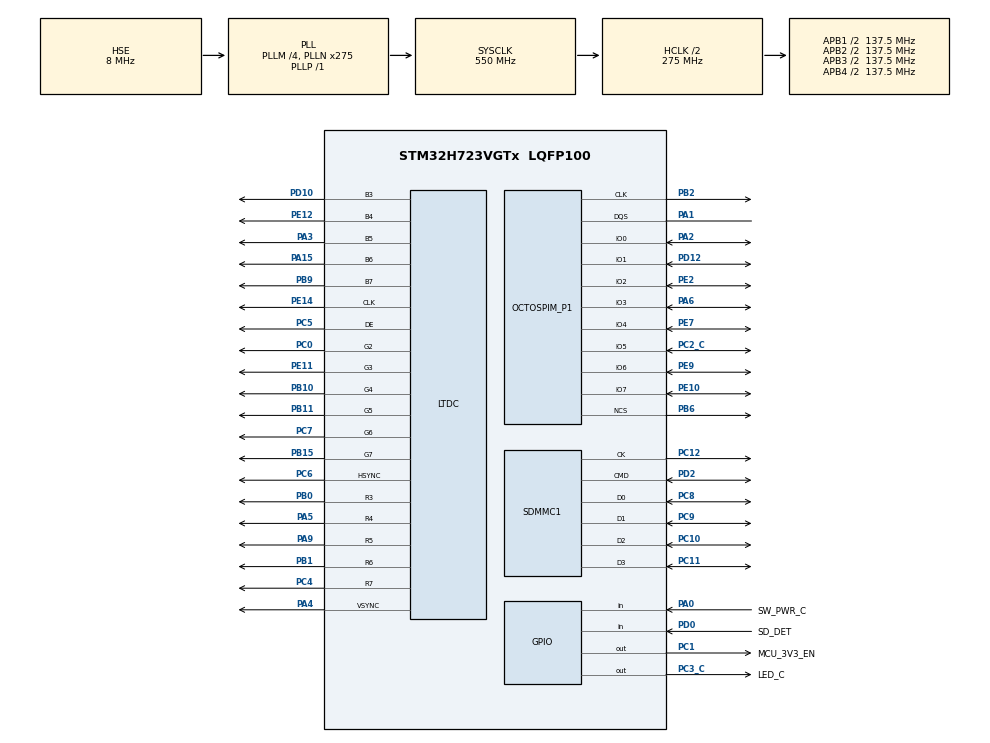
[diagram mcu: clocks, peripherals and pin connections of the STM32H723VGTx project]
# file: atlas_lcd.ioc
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Bdma.MEMTOMEM.0.Direction=DMA_MEMORY_TO_MEMORY
Bdma.MEMTOMEM.0.EventEnable=DISABLE
Bdma.MEMTOMEM.0.Instance=BDMA_Channel0
Bdma.MEMTOMEM.0.MemDataAlignment=DMA_MDATAALIGN_BYTE
Bdma.MEMTOMEM.0.MemInc=DMA_MINC_ENABLE
Bdma.MEMTOMEM.0.Mode=DMA_NORMAL
Bdma.MEMTOMEM.0.PeriphDataAlignment=DMA_PDATAALIGN_BYTE
Bdma.MEMTOMEM.0.PeriphInc=DMA_PINC_ENABLE
Bdma.MEMTOMEM.0.Polarity=HAL_DMAMUX_REQ_GEN_RISING
Bdma.MEMTOMEM.0.Priority=DMA_PRIORITY_LOW
Bdma.MEMTOMEM.0.RequestNumber=1
Bdma.MEMTOMEM.0.SignalID=NONE
Bdma.MEMTOMEM.0.SyncEnable=DISABLE
Bdma.MEMTOMEM.0.SyncPolarity=HAL_DMAMUX_SYNC_NO_EVENT
Bdma.MEMTOMEM.0.SyncRequestNumber=1
Bdma.MEMTOMEM.0.SyncSignalID=NONE
Bdma.Request0=MEMTOMEM
Bdma.RequestsNb=1
CORTEX_M7.MPU_Control=__NULL
DMA2D.ColorMode=DMA2D_OUTPUT_ARGB8888
DMA2D.InputColorModeForeground=DMA2D_INPUT_L8
DMA2D.Mode=DMA2D_M2M_PFC
FATFS.BSP.number=1
FATFS.USE_DMA_CODE_SD=1
FATFS0.BSP.STBoard=false
FATFS0.BSP.api=Unknown
FATFS0.BSP.i2caddr=0
FATFS0.BSP.instance=PD0
FATFS0.BSP.ip=GPIO
FATFS0.BSP.mode=Input
FATFS0.BSP.name=Detect_SDIO
FATFS0.BSP.solution=PD0
Mcu.Family=STM32H7
Mcu.Name=STM32H723VGTx
Mcu.Package=LQFP100
Mdma.MDMA_Channel0.Request0=SW
Mdma.MDMA_Channel0.RequestsNb=1
Mdma.MDMA_Channel0.SW.0.BlockCount=0
Mdma.MDMA_Channel0.SW.0.BlockDataLength=0
Mdma.MDMA_Channel0.SW.0.BufferTransferLength=1
Mdma.MDMA_Channel0.SW.0.CircularMode=MDMA_LINEAR_LIST
Mdma.MDMA_Channel0.SW.0.DataAlignment=MDMA_DATAALIGN_PACKENABLE
Mdma.MDMA_Channel0.SW.0.DestBlockAddressOffset=0
Mdma.MDMA_Channel0.SW.0.DestBurst=MDMA_DEST_BURST_SINGLE
Mdma.MDMA_Channel0.SW.0.DestDataSize=MDMA_DEST_DATASIZE_BYTE
Mdma.MDMA_Channel0.SW.0.DestinationInc=MDMA_DEST_INC_BYTE
Mdma.MDMA_Channel0.SW.0.DstAddress=0
Mdma.MDMA_Channel0.SW.0.Endianness=MDMA_LITTLE_ENDIANNESS_PRESERVE
Mdma.MDMA_Channel0.SW.0.Instance=MDMA_Channel0
Mdma.MDMA_Channel0.SW.0.MaskAddress=0
Mdma.MDMA_Channel0.SW.0.MaskData=0
Mdma.MDMA_Channel0.SW.0.Priority=MDMA_PRIORITY_LOW
Mdma.MDMA_Channel0.SW.0.Rank=First
Mdma.MDMA_Channel0.SW.0.SourceBlockAddressOffset=0
Mdma.MDMA_Channel0.SW.0.SourceBurst=MDMA_SOURCE_BURST_SINGLE
Mdma.MDMA_Channel0.SW.0.SourceDataSize=MDMA_SRC_DATASIZE_BYTE
Mdma.MDMA_Channel0.SW.0.SourceInc=MDMA_SRC_INC_BYTE
Mdma.MDMA_Channel0.SW.0.SrcAddress=0
Mdma.MDMA_Channel0.SW.0.TransferTriggerMode=MDMA_BLOCK_TRANSFER
Mdma.RequestSet0=MDMA_Channel0
Mdma.RequestSetsNb=1
NVIC.PriorityGroup=NVIC_PRIORITYGROUP_4
OCTOSPI1.AccessTime=6
OCTOSPI1.ChipSelectBoundary=0
OCTOSPI1.ClkChipSelectHighTime=1
OCTOSPI1.ClockPrescaler=2
OCTOSPI1.DelayHoldQuarterCycle=HAL_OSPI_DHQC_ENABLE
OCTOSPI1.DeviceSize=23
OCTOSPI1.LatencyMode=HAL_OSPI_FIXED_LATENCY
OCTOSPI1.RWRecoveryTime=3
OCTOSPI1.Refresh=241
PA0.GPIO_Label=SW_PWR_C
PA0.Signal=GPIO_Input
PA1.Mode=OCTOSPI1_Port1_DQS
PA1.Signal=OCTOSPIM_P1_DQS
PA13(JTMS/SWDIO).Mode=Trace_Asynchronous_SW
PA13(JTMS/SWDIO).Signal=DEBUG_JTMS-SWDIO
PA14(JTCK/SWCLK).Mode=Trace_Asynchronous_SW
PA14(JTCK/SWCLK).Signal=DEBUG_JTCK-SWCLK
PA15(JTDI).Mode=RGB565
PA15(JTDI).Signal=LTDC_B6
PA2.Mode=OCTOSPI1_IOL_Port1L
PA2.Signal=OCTOSPIM_P1_IO0
PA3.Mode=RGB565
PA3.Signal=LTDC_B5
PA4.Mode=RGB565
PA4.Signal=LTDC_VSYNC
PA5.Mode=RGB565
PA5.Signal=LTDC_R4
PA6.Mode=OCTOSPI1_IOL_Port1L
PA6.Signal=OCTOSPIM_P1_IO3
PA9.Mode=RGB565
PA9.Signal=LTDC_R5
PB0.Mode=RGB565
PB0.Signal=LTDC_R3
PB1.Mode=RGB565
PB1.Signal=LTDC_R6
PB10.Mode=RGB565
PB10.Signal=LTDC_G4
PB11.Mode=RGB565
PB11.Signal=LTDC_G5
PB15.Mode=RGB565
PB15.Signal=LTDC_G7
PB2.Mode=O1_P1_CLK
PB2.Signal=OCTOSPIM_P1_CLK
PB3(JTDO/TRACESWO).Mode=Trace_Asynchronous_SW
PB3(JTDO/TRACESWO).Signal=DEBUG_JTDO-SWO
PB6.Mode=OCTOSPI1_Port1_NCS
PB6.Signal=OCTOSPIM_P1_NCS
PB9.Mode=RGB565
PB9.Signal=LTDC_B7
PC0.Mode=RGB565
PC0.Signal=LTDC_G2
PC1.GPIO_Label=MCU_3V3_EN
PC1.PinState=GPIO_PIN_SET
PC1.Signal=GPIO_Output
PC10.Mode=SD_4_bits_Wide_bus
PC10.Signal=SDMMC1_D2
PC11.Mode=SD_4_bits_Wide_bus
PC11.Signal=SDMMC1_D3
PC12.Mode=SD_4_bits_Wide_bus
PC12.Signal=SDMMC1_CK
PC2_C.Mode=OCTOSPI1_IOH_Port1H
PC2_C.Signal=OCTOSPIM_P1_IO5
PC3_C.GPIO_Label=LED_C
PC3_C.PinState=GPIO_PIN_SET
PC3_C.Signal=GPIO_Output
PC4.Mode=RGB565
PC4.Signal=LTDC_R7
PC5.Mode=RGB565
PC5.Signal=LTDC_DE
PC6.Mode=RGB565
PC6.Signal=LTDC_HSYNC
PC7.Mode=RGB565
PC7.Signal=LTDC_G6
PC8.Mode=SD_4_bits_Wide_bus
PC8.Signal=SDMMC1_D0
PC9.Mode=SD_4_bits_Wide_bus
PC9.Signal=SDMMC1_D1
PD0.GPIO_Label=SD_DET
PD0.Signal=GPIO_Input
PD10.Mode=RGB565
PD10.Signal=LTDC_B3
PD12.Mode=OCTOSPI1_IOL_Port1L
PD12.Signal=OCTOSPIM_P1_IO1
PD2.Mode=SD_4_bits_Wide_bus
PD2.Signal=SDMMC1_CMD
PE10.Mode=OCTOSPI1_IOH_Port1H
PE10.Signal=OCTOSPIM_P1_IO7
PE11.Mode=RGB565
PE11.Signal=LTDC_G3
PE12.Mode=RGB565
PE12.Signal=LTDC_B4
PE14.Mode=RGB565
PE14.Signal=LTDC_CLK
PE2.Mode=OCTOSPI1_IOL_Port1L
PE2.Signal=OCTOSPIM_P1_IO2
PE7.Mode=OCTOSPI1_IOH_Port1H
PE7.Signal=OCTOSPIM_P1_IO4
PE9.Mode=OCTOSPI1_IOH_Port1H
PE9.Signal=OCTOSPIM_P1_IO6
PH0-OSC_IN.Mode=HSE-External-Oscillator
PH0-OSC_IN.Signal=RCC_OSC_IN
PH1-OSC_OUT.Mode=HSE-External-Oscillator
PH1-OSC_OUT.Signal=RCC_OSC_OUT
ProjectManager.HeapSize=0x200
ProjectManager.StackSize=0x400
ProjectManager.TargetToolchain=Makefile
RCC.ADCFreq_Value=100000000
RCC.APB1Freq_Value=137500000
RCC.APB2Freq_Value=137500000
RCC.APB3Freq_Value=137500000
RCC.APB4Freq_Value=137500000
RCC.CortexFreq_Value=550000000
RCC.D1PPRE=RCC_APB3_DIV2
RCC.D2PPRE1=RCC_APB1_DIV2
RCC.D2PPRE2=RCC_APB2_DIV2
RCC.D3PPRE=RCC_APB4_DIV2
RCC.DIVM1=4
RCC.DIVM2=2
RCC.DIVN1=275
RCC.DIVN2=50
RCC.DIVN3=148
RCC.DIVP1=1
RCC.DIVR2=100
RCC.DIVR3=4
RCC.HCLKFreq_Value=275000000
RCC.HPRE=RCC_HCLK_DIV2
RCC.HSE_VALUE=8000000
RCC.HSIDiv=RCC_PLLSAIDIVR_8
RCC.LSE_VALUE=32.77
RCC.PLL2FRACN=0
RCC.PLL2_VCO_SEL-AdvancedSettings=RCC_PLL2VCOWIDE
RCC.PLL3FRACN=0
RCC.PLLFRACN=0
RCC.PLLSourceVirtual=RCC_PLLSOURCE_HSE
RCC.QSPICLockSelection=RCC_OSPICLKSOURCE_PLL
RCC.SDMMC1CLockSelection=RCC_SDMMCCLKSOURCE_PLL2
RCC.SPI123CLockSelection=RCC_SPI123CLKSOURCE_PLL2
RCC.SYSCLKFreq_VALUE=550000000
RCC.SYSCLKSource=RCC_SYSCLKSOURCE_PLLCLK
RCC.USBFreq_Value=275000000
SDMMC1.ClockDiv=4
TIM2.AutoReloadPreload=TIM_AUTORELOAD_PRELOAD_ENABLE
TIM2.Period=999
TIM2.Prescaler=9
VP_DMA2D_VS_DMA2D.Mode=DMA2D_Activate
VP_FATFS_VS_SDIO.Mode=SDIO
VP_OCTOSPI1_VS_hyperbus.Mode=hyperbus_mode
VP_TIM2_VS_ClockSourceINT.Mode=Internal
board=custom

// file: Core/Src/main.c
/* USER CODE BEGIN Header */
/**
  ******************************************************************************
  * @file           : main.c
  * @brief          : Main program body
  ******************************************************************************
  * @attention
  *
  * <h2><center>&copy; Copyright (c) 2021 STMicroelectronics.
  * All rights reserved.</center></h2>
  *
  * This software component is licensed by ST under BSD 3-Clause license,
  * the "License"; You may not use this file except in compliance with the
  * License. You may obtain a copy of the License at:
  *                        opensource.org/licenses/BSD-3-Clause
  *
  ******************************************************************************
  */
/* USER CODE END Header */
#include "main.h"
#include "bdma.h"
#include "dma2d.h"
#include "fatfs.h"
#include "ltdc.h"
#include "mdma.h"
#include "octospi.h"
#include "sdmmc.h"
#include "tim.h"
#include "gpio.h"

void SystemClock_Config(void);
/* USER CODE BEGIN PFP */
void SWD_Init(void);
void SWO_PrintData(uint32_t * addr, uint32_t count);
/* USER CODE END PFP */

/* USER CODE BEGIN 0 */
__attribute__((section(".fb1"))) uint8_t fb[272*480];
/* USER CODE END 0 */

int main(void)
{
  /* USER CODE BEGIN 1 */
  /* Enable I-Cache */
  //SCB_EnableICache();

  /* Enable D-Cache */
  //SCB_EnableDCache();
  /* USER CODE END 1 */

  /* MCU Configuration--------------------------------------------------------*/

  /* Reset of all peripherals, Initializes the Flash interface and the Systick. */
  HAL_Init();

  /* Configure the system clock */
  SystemClock_Config();

  /* Initialize all configured peripherals */
  MX_GPIO_Init();
  MX_BDMA_Init();
  MX_MDMA_Init();
  MX_SDMMC1_SD_Init();
  MX_TIM2_Init();
  MX_FATFS_Init();
  MX_LTDC_Init();
  MX_OCTOSPI1_Init();
  MX_DMA2D_Init();
  /* USER CODE BEGIN 2 */
  HAL_TIM_PWM_Start(&htim2, TIM_CHANNEL_4);
  /* USER CODE END 2 */

  /* Infinite loop */
  while (1)
  {

  }
}

void SystemClock_Config(void)
{
  RCC_OscInitTypeDef RCC_OscInitStruct = {0};
  RCC_ClkInitTypeDef RCC_ClkInitStruct = {0};

  /** Supply configuration update enable
  */
  HAL_PWREx_ConfigSupply(PWR_LDO_SUPPLY);
  /** Configure the main internal regulator output voltage
  */
  __HAL_PWR_VOLTAGESCALING_CONFIG(PWR_REGULATOR_VOLTAGE_SCALE0);

  while(!__HAL_PWR_GET_FLAG(PWR_FLAG_VOSRDY)) {}
  /** Macro to configure the PLL clock source
  */
  __HAL_RCC_PLL_PLLSOURCE_CONFIG(RCC_PLLSOURCE_HSE);
  /** Initializes the RCC Oscillators according to the specified parameters
  * in the RCC_OscInitTypeDef structure.
  */
  RCC_OscInitStruct.OscillatorType = RCC_OSCILLATORTYPE_HSE;
  RCC_OscInitStruct.HSEState = RCC_HSE_ON;
  RCC_OscInitStruct.PLL.PLLState = RCC_PLL_ON;
  RCC_OscInitStruct.PLL.PLLSource = RCC_PLLSOURCE_HSE;
  RCC_OscInitStruct.PLL.PLLM = 4;
  RCC_OscInitStruct.PLL.PLLN = 275;
  RCC_OscInitStruct.PLL.PLLP = 1;
  RCC_OscInitStruct.PLL.PLLQ = 2;
  RCC_OscInitStruct.PLL.PLLR = 2;
  RCC_OscInitStruct.PLL.PLLRGE = RCC_PLL1VCIRANGE_1;
  RCC_OscInitStruct.PLL.PLLVCOSEL = RCC_PLL1VCOWIDE;
  RCC_OscInitStruct.PLL.PLLFRACN = 0;
  if (HAL_RCC_OscConfig(&RCC_OscInitStruct) != HAL_OK)
  {
    Error_Handler();
  }
  /** Initializes the CPU, AHB and APB buses clocks
  */
  RCC_ClkInitStruct.ClockType = RCC_CLOCKTYPE_HCLK|RCC_CLOCKTYPE_SYSCLK
                              |RCC_CLOCKTYPE_PCLK1|RCC_CLOCKTYPE_PCLK2
                              |RCC_CLOCKTYPE_D3PCLK1|RCC_CLOCKTYPE_D1PCLK1;
  RCC_ClkInitStruct.SYSCLKSource = RCC_SYSCLKSOURCE_PLLCLK;
  RCC_ClkInitStruct.SYSCLKDivider = RCC_SYSCLK_DIV1;
  RCC_ClkInitStruct.AHBCLKDivider = RCC_HCLK_DIV2;
  RCC_ClkInitStruct.APB3CLKDivider = RCC_APB3_DIV2;
  RCC_ClkInitStruct.APB1CLKDivider = RCC_APB1_DIV2;
  RCC_ClkInitStruct.APB2CLKDivider = RCC_APB2_DIV2;
  RCC_ClkInitStruct.APB4CLKDivider = RCC_APB4_DIV2;

  if (HAL_RCC_ClockConfig(&RCC_ClkInitStruct, FLASH_LATENCY_3) != HAL_OK)
  {
    Error_Handler();
  }
}

/* USER CODE BEGIN 4 */
void SWD_Init(void)
{
  /*
    This functions recommends system speed of 400000000Hz and will
    use SWO clock speed of 2000000Hz

    # GDB OpenOCD commands to connect to this:
    monitor tpiu config internal - uart off 400000000
    monitor itm port 0 on

    Code Gen Ref: https://gist.github.com/mofosyne/178ad947fdff0f357eb0e03a42bcef5c
  */

  /* Setup SWO and SWO funnel (Note: SWO_BASE and SWTF_BASE not defined in stm32h743xx.h) */
  // DBGMCU_CR : Enable D3DBGCKEN D1DBGCKEN TRACECLKEN Clock Domains
  DBGMCU->CR =  DBGMCU_CR_DBG_CKD3EN | DBGMCU_CR_DBG_CKD1EN | DBGMCU_CR_DBG_TRACECKEN; // DBGMCU_CR
  // SWO_LAR & SWTF_LAR : Unlock SWO and SWO Funnel
  *((uint32_t *)(0x5c003fb0)) = 0xC5ACCE55; // SWO_LAR
  *((uint32_t *)(0x5c004fb0)) = 0xC5ACCE55; // SWTF_LAR
  // SWO_CODR  : 400000000Hz -> 2000000Hz
  // Note: SWOPrescaler = ((sysclock_Hz / SWOSpeed_Hz) - 1) --> 0x0000c7 = 199 = (400000000 / 2000000) - 1)
  *((uint32_t *)(0x5c003010)) = ((SystemCoreClock /  2000000) - 1); // SWO_CODR
  // SWO_SPPR : (2:  SWO NRZ, 1:  SWO Manchester encoding)
  *((uint32_t *)(0x5c0030f0)) = 0x00000001; // SWO_SPPR
  // SWTF_CTRL : enable SWO
  *((uint32_t *)(0x5c004000)) |= 0x1; // SWTF_CTRL

  /* SWO GPIO Pin Setup */
  //RCC_AHB4ENR enable GPIOB clock
  *(__IO uint32_t*)(0x580244E0) |= 0x00000002;
  // Configure GPIOB pin 3 as AF
  *(__IO uint32_t*)(0x58020400) = (*(__IO uint32_t*)(0x58020400) & 0xffffff3f) | 0x00000080;
  // Configure GPIOB pin 3 Speed
  *(__IO uint32_t*)(0x58020408) |= 0x00000080;
  // Force AF0 for GPIOB pin 3
  *(__IO uint32_t*)(0x58020420) &= 0xFFFF0FFF;

/* Disabling FMC Bank1: After reset FMC_BCR1 = 0x000030DB where MBKEN = 1b meaning that FMC_Bank1 is enabledand MTYP[1:0]= 10 meaning that memory type is set to NOR Flash/OneNAND Flash*/
  //FMC_Bank1->BTCR[0] = 0x000030D2;
}

void SWO_PrintData(uint32_t * addr, uint32_t count) {
    volatile int timeout;

    /* Check if Trace Control Register (ITM->TCR at 0xE0000E80) is set */
    if ((ITM->TCR&ITM_TCR_ITMENA_Msk) == 0) { /* check Trace Control Register if ITM trace is enabled*/
        return; /* not enabled? */
    }
    /* Check if the requested channel stimulus port (ITM->TER at 0xE0000E00) is enabled */
    if ((ITM->TER & (1ul<<0))==0) { /* check Trace Enable Register if requested port is enabled */
        return; /* requested port not enabled? */
    }
    for(int i = 0; i < count; i++) {
        timeout = 5000; /* arbitrary timeout value */
        while (ITM->PORT[0].u32 == 0) {
            /* Wait until STIMx is ready, then send data */
            timeout--;
            if (timeout==0) {
                return; /* not able to send */
            }
        }
        ITM->PORT[0].u32 = addr[i];
    }
}

/* USER CODE END 4 */

void Error_Handler(void)
{
  __disable_irq();
  while (1)
  {
  }
}

/************************ (C) COPYRIGHT STMicroelectronics *****END OF FILE****/
